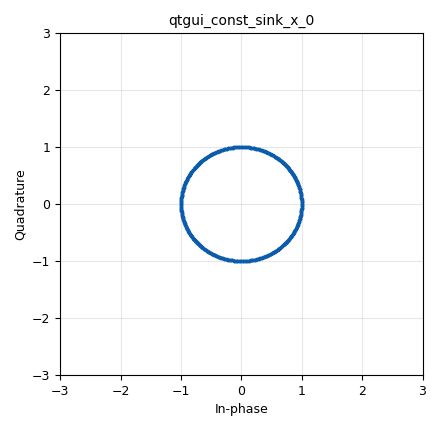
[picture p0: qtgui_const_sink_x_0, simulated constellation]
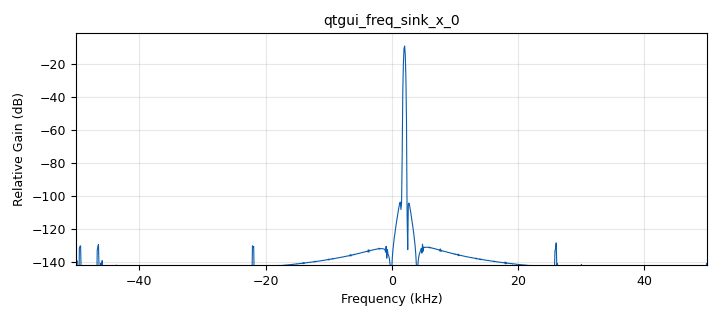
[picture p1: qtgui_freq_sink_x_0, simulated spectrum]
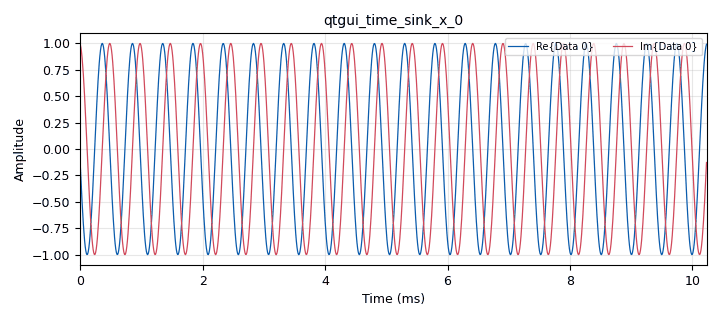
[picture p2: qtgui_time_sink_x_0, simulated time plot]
options:
  parameters:
    generate_options: qt_gui
    id: ComplexPlot
    output_language: python
    title: ComplexPlot
  states: {}

blocks:
- name: freq
  id: variable_qtgui_range
  parameters:
    start: '-100e3'
    step: '1'
    stop: 100e3
    value: '1024'
  states: {}
- name: freq2
  id: variable_qtgui_range
  parameters:
    start: '-100e3'
    step: '1'
    stop: 100e3
    value: '1000'
  states: {}
- name: samp_rate
  id: variable
  parameters:
    value: 100e3
  states: {}
- name: analog_sig_source_x_0
  id: analog_sig_source_x
  parameters:
    amp: '1'
    freq: freq
    offset: '0'
    phase: '0'
    samp_rate: samp_rate
    type: complex
    waveform: analog.GR_COS_WAVE
  states: {}
- name: analog_sig_source_x_1
  id: analog_sig_source_x
  parameters:
    amp: '1'
    freq: freq2
    offset: '0'
    phase: '0'
    samp_rate: samp_rate
    type: complex
    waveform: analog.GR_COS_WAVE
  states: {}
- name: blocks_multiply_xx_0
  id: blocks_multiply_xx
  parameters:
    type: complex
  states: {}
- name: blocks_throttle2_0
  id: blocks_throttle2
  parameters:
    samples_per_second: samp_rate
    type: complex
  states: {}
- name: qtgui_const_sink_x_0
  id: qtgui_const_sink_x
  parameters:
    grid: 'True'
    size: '1024'
    type: complex
    xmax: '3'
    xmin: '-3'
    ymax: '3'
    ymin: '-3'
  states: {}
- name: qtgui_freq_sink_x_0
  id: qtgui_freq_sink_x
  parameters:
    autoscale: 'True'
    bw: samp_rate
    ctrlpanel: 'True'
    fc: '0'
    fftsize: '1024'
    grid: 'True'
    type: complex
  states: {}
- name: qtgui_time_sink_x_0
  id: qtgui_time_sink_x
  parameters:
    autoscale: 'True'
    ctrlpanel: 'True'
    grid: 'True'
    size: '1024'
    srate: samp_rate
    type: complex
  states: {}

connections:
- [analog_sig_source_x_0, '0', blocks_multiply_xx_0, '0']
- [analog_sig_source_x_1, '0', blocks_multiply_xx_0, '1']
- [blocks_multiply_xx_0, '0', blocks_throttle2_0, '0']
- [blocks_throttle2_0, '0', qtgui_const_sink_x_0, '0']
- [blocks_throttle2_0, '0', qtgui_freq_sink_x_0, '0']
- [blocks_throttle2_0, '0', qtgui_time_sink_x_0, '0']

metadata:
  file_format: 1
  grc_version: 3.10.9.2
